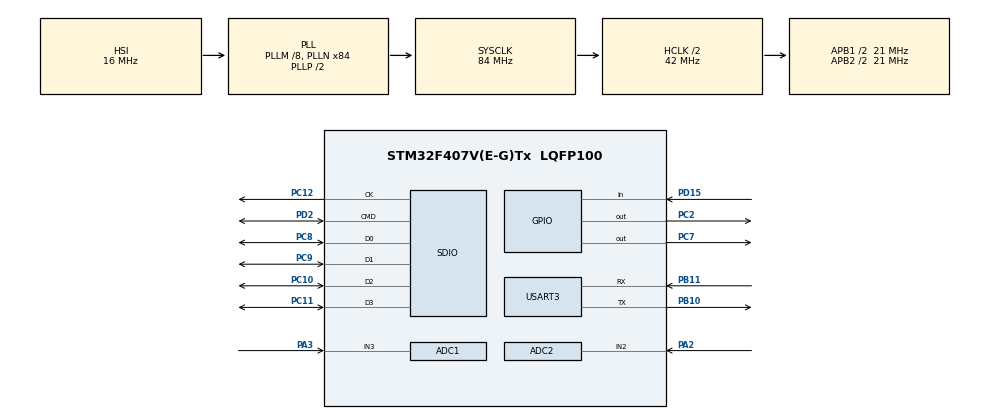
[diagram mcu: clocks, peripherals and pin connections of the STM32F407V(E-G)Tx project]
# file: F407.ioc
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ADC1.Channel-0\#ChannelRegularConversion=ADC_CHANNEL_3
ADC1.ClockPrescaler=ADC_CLOCK_SYNC_PCLK_DIV8
ADC1.ContinuousConvMode=DISABLE
ADC1.DMAContinuousRequests=DISABLE
ADC1.InjNumberOfConversion=0
ADC1.NbrOfConversionFlag=1
ADC1.Rank-0\#ChannelRegularConversion=1
ADC1.SamplingTime-0\#ChannelRegularConversion=ADC_SAMPLETIME_84CYCLES
ADC1.ScanConvMode=DISABLE
ADC1.master=1
ADC2.Channel-0\#ChannelRegularConversion=ADC_CHANNEL_2
ADC2.ClockPrescaler=ADC_CLOCK_SYNC_PCLK_DIV8
ADC2.NbrOfConversionFlag=1
ADC2.Rank-0\#ChannelRegularConversion=1
ADC2.SamplingTime-0\#ChannelRegularConversion=ADC_SAMPLETIME_3CYCLES
Dma.Request0=SDIO_RX
Dma.Request1=SDIO_TX
Dma.SDIO_RX.0.Direction=DMA_PERIPH_TO_MEMORY
Dma.SDIO_RX.0.FIFOMode=DMA_FIFOMODE_ENABLE
Dma.SDIO_RX.0.FIFOThreshold=DMA_FIFO_THRESHOLD_FULL
Dma.SDIO_RX.0.Instance=DMA2_Stream3
Dma.SDIO_RX.0.MemBurst=DMA_MBURST_INC4
Dma.SDIO_RX.0.MemDataAlignment=DMA_MDATAALIGN_WORD
Dma.SDIO_RX.0.MemInc=DMA_MINC_ENABLE
Dma.SDIO_RX.0.Mode=DMA_PFCTRL
Dma.SDIO_RX.0.PeriphBurst=DMA_PBURST_INC4
Dma.SDIO_RX.0.PeriphDataAlignment=DMA_PDATAALIGN_WORD
Dma.SDIO_RX.0.PeriphInc=DMA_PINC_DISABLE
Dma.SDIO_RX.0.Priority=DMA_PRIORITY_LOW
Dma.SDIO_TX.1.Direction=DMA_MEMORY_TO_PERIPH
Dma.SDIO_TX.1.FIFOMode=DMA_FIFOMODE_ENABLE
Dma.SDIO_TX.1.FIFOThreshold=DMA_FIFO_THRESHOLD_FULL
Dma.SDIO_TX.1.Instance=DMA2_Stream6
Dma.SDIO_TX.1.MemBurst=DMA_MBURST_INC4
Dma.SDIO_TX.1.MemDataAlignment=DMA_MDATAALIGN_WORD
Dma.SDIO_TX.1.MemInc=DMA_MINC_ENABLE
Dma.SDIO_TX.1.Mode=DMA_PFCTRL
Dma.SDIO_TX.1.PeriphBurst=DMA_PBURST_INC4
Dma.SDIO_TX.1.PeriphDataAlignment=DMA_PDATAALIGN_WORD
Dma.SDIO_TX.1.PeriphInc=DMA_PINC_DISABLE
Dma.SDIO_TX.1.Priority=DMA_PRIORITY_LOW
FATFS.BSP.number=1
FATFS._CODE_PAGE=936
FATFS._USE_LFN=2
FATFS._USE_STRFUNC=1
FATFS0.BSP.STBoard=false
FATFS0.BSP.api=Unknown
FATFS0.BSP.instance=PD15
FATFS0.BSP.ip=GPIO
FATFS0.BSP.mode=Input
FATFS0.BSP.name=Detect_SDIO
FATFS0.BSP.solution=PD15
FREERTOS.Mutexes01=printMutex,Dynamic,NULL
FREERTOS.Queues01=rxQueue,3,rxStruct,0,Dynamic,NULL,NULL;sdCmdQueue,1,uint16_t,0,Dynamic,NULL,NULL
FREERTOS.Tasks01=defaultTask,8,128,StartDefaultTask,Default,NULL,Dynamic,NULL,NULL;cmdTask,40,256,CMDTask,As external,NULL,Dynamic,NULL,NULL;sdTask,24,512,SDTask,As external,NULL,Dynamic,NULL,NULL;recordTask,8,256,RecordTask,As external,NULL,Dynamic,NULL,NULL
FREERTOS.configLIBRARY_MAX_SYSCALL_INTERRUPT_PRIORITY=5
FREERTOS.configTICK_RATE_HZ=1000
FREERTOS.configUSE_TICKLESS_IDLE=0
Mcu.Family=STM32F4
Mcu.Name=STM32F407V(E-G)Tx
Mcu.Package=LQFP100
NVIC.DMA2_Stream3_IRQn=true\:6\:0\:true\:false\:true\:true\:false\:true\:true
NVIC.DMA2_Stream6_IRQn=true\:6\:0\:true\:false\:true\:true\:false\:true\:true
NVIC.PriorityGroup=NVIC_PRIORITYGROUP_4
NVIC.SDIO_IRQn=true\:5\:0\:false\:false\:true\:true\:true\:true\:true
NVIC.TIM7_IRQn=true\:15\:0\:false\:false\:true\:false\:false\:true\:true
NVIC.TimeBase=TIM7_IRQn
NVIC.TimeBaseIP=TIM7
NVIC.USART3_IRQn=true\:5\:0\:false\:false\:true\:true\:false\:true\:true
PA13.Mode=Serial_Wire
PA13.Signal=SYS_JTMS-SWDIO
PA14.Mode=Serial_Wire
PA14.Signal=SYS_JTCK-SWCLK
PA2.Signal=ADCx_IN2
PA3.Signal=ADCx_IN3
PB10.Mode=Asynchronous
PB10.Signal=USART3_TX
PB11.Mode=Asynchronous
PB11.Signal=USART3_RX
PC10.Mode=SD_4_bits_Wide_bus
PC10.Signal=SDIO_D2
PC11.Mode=SD_4_bits_Wide_bus
PC11.Signal=SDIO_D3
PC12.Mode=SD_4_bits_Wide_bus
PC12.Signal=SDIO_CK
PC14-OSC32_IN.Mode=LSE-External-Oscillator
PC14-OSC32_IN.Signal=RCC_OSC32_IN
PC15-OSC32_OUT.Mode=LSE-External-Oscillator
PC15-OSC32_OUT.Signal=RCC_OSC32_OUT
PC2.Signal=GPIO_Output
PC7.GPIO_PuPd=GPIO_PULLUP
PC7.Signal=GPIO_Output
PC8.Mode=SD_4_bits_Wide_bus
PC8.Signal=SDIO_D0
PC9.Mode=SD_4_bits_Wide_bus
PC9.Signal=SDIO_D1
PD15.GPIO_PuPd=GPIO_PULLDOWN
PD15.Signal=GPIO_Input
PD2.Mode=SD_4_bits_Wide_bus
PD2.Signal=SDIO_CMD
PH0-OSC_IN.Mode=HSE-External-Oscillator
PH0-OSC_IN.Signal=RCC_OSC_IN
PH1-OSC_OUT.Mode=HSE-External-Oscillator
PH1-OSC_OUT.Signal=RCC_OSC_OUT
ProjectManager.HeapSize=0x4000
ProjectManager.StackSize=0x1000
ProjectManager.TargetToolchain=MDK-ARM V5
RCC.48MHZClocksFreq_Value=42000000
RCC.AHBCLKDivider=RCC_SYSCLK_DIV2
RCC.AHBFreq_Value=42000000
RCC.APB1CLKDivider=RCC_HCLK_DIV2
RCC.APB1Freq_Value=21000000
RCC.APB1TimFreq_Value=42000000
RCC.APB2CLKDivider=RCC_HCLK_DIV2
RCC.APB2Freq_Value=21000000
RCC.APB2TimFreq_Value=42000000
RCC.CortexFreq_Value=42000000
RCC.HCLKFreq_Value=42000000
RCC.HSE_VALUE=8000000
RCC.HSI_VALUE=16000000
RCC.PLLM=8
RCC.PLLN=84
RCC.RCC_RTC_Clock_SourceVirtual=RCC_RTCCLKSOURCE_LSE
RCC.SYSCLKFreq_VALUE=84000000
RCC.SYSCLKSource=RCC_SYSCLKSOURCE_PLLCLK
RCC.VCOOutputFreq_Value=168000000
SDIO.ClockDiv=3
SH.ADCx_IN2.0=ADC2_IN2,IN2
SH.ADCx_IN3.0=ADC1_IN3,IN3
USART3.VirtualMode=VM_ASYNC
VP_FATFS_VS_SDIO.Mode=SDIO
VP_FREERTOS_VS_CMSIS_V2.Mode=CMSIS_V2
VP_RTC_VS_RTC_Activate.Mode=RTC_Enabled
VP_RTC_VS_RTC_Calendar.Mode=RTC_Calendar
VP_SYS_VS_tim7.Mode=TIM7
board=custom

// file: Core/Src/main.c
/* USER CODE BEGIN Header */
/**
  ******************************************************************************
  * @file           : main.c
  * @brief          : Main program body
  ******************************************************************************
  * @attention
  *
  * Copyright (c) 2024 STMicroelectronics.
  * All rights reserved.
  *
  * This software is licensed under terms that can be found in the LICENSE file
  * in the root directory of this software component.
  * If no LICENSE file comes with this software, it is provided AS-IS.
  *
  ******************************************************************************
  */
/* USER CODE END Header */
#include "main.h"
#include "cmsis_os.h"
#include "adc.h"
#include "dma.h"
#include "fatfs.h"
#include "rtc.h"
#include "sdio.h"
#include "usart.h"
#include "gpio.h"

/* USER CODE BEGIN Includes */
#include <stdio.h>
#include <string.h>
/* USER CODE END Includes */

void SystemClock_Config(void);
void MX_FREERTOS_Init(void);

int main(void)
{

  /* MCU Configuration--------------------------------------------------------*/

  /* Reset of all peripherals, Initializes the Flash interface and the Systick. */
  HAL_Init();

  /* Configure the system clock */
  SystemClock_Config();

  /* Initialize all configured peripherals */
  MX_GPIO_Init();
  MX_DMA_Init();
  MX_USART3_UART_Init();
  MX_ADC1_Init();
  MX_RTC_Init();
  MX_SDIO_SD_Init();
  MX_FATFS_Init();
  MX_ADC2_Init();

  /* Init scheduler */
  osKernelInitialize();

  /* Call init function for freertos objects (in cmsis_os2.c) */
  MX_FREERTOS_Init();

  /* Start scheduler */
  osKernelStart();

  /* We should never get here as control is now taken by the scheduler */

  /* Infinite loop */
  while (1)
  {

  }
}

void SystemClock_Config(void)
{
  RCC_OscInitTypeDef RCC_OscInitStruct = {0};
  RCC_ClkInitTypeDef RCC_ClkInitStruct = {0};

  /** Configure the main internal regulator output voltage
  */
  __HAL_RCC_PWR_CLK_ENABLE();
  __HAL_PWR_VOLTAGESCALING_CONFIG(PWR_REGULATOR_VOLTAGE_SCALE1);

  /** Initializes the RCC Oscillators according to the specified parameters
  * in the RCC_OscInitTypeDef structure.
  */
  RCC_OscInitStruct.OscillatorType = RCC_OSCILLATORTYPE_HSI|RCC_OSCILLATORTYPE_LSE;
  RCC_OscInitStruct.LSEState = RCC_LSE_ON;
  RCC_OscInitStruct.HSIState = RCC_HSI_ON;
  RCC_OscInitStruct.HSICalibrationValue = RCC_HSICALIBRATION_DEFAULT;
  RCC_OscInitStruct.PLL.PLLState = RCC_PLL_ON;
  RCC_OscInitStruct.PLL.PLLSource = RCC_PLLSOURCE_HSI;
  RCC_OscInitStruct.PLL.PLLM = 8;
  RCC_OscInitStruct.PLL.PLLN = 84;
  RCC_OscInitStruct.PLL.PLLP = RCC_PLLP_DIV2;
  RCC_OscInitStruct.PLL.PLLQ = 4;
  if (HAL_RCC_OscConfig(&RCC_OscInitStruct) != HAL_OK)
  {
    Error_Handler();
  }

  /** Initializes the CPU, AHB and APB buses clocks
  */
  RCC_ClkInitStruct.ClockType = RCC_CLOCKTYPE_HCLK|RCC_CLOCKTYPE_SYSCLK
                              |RCC_CLOCKTYPE_PCLK1|RCC_CLOCKTYPE_PCLK2;
  RCC_ClkInitStruct.SYSCLKSource = RCC_SYSCLKSOURCE_PLLCLK;
  RCC_ClkInitStruct.AHBCLKDivider = RCC_SYSCLK_DIV2;
  RCC_ClkInitStruct.APB1CLKDivider = RCC_HCLK_DIV2;
  RCC_ClkInitStruct.APB2CLKDivider = RCC_HCLK_DIV2;

  if (HAL_RCC_ClockConfig(&RCC_ClkInitStruct, FLASH_LATENCY_1) != HAL_OK)
  {
    Error_Handler();
  }
}

void HAL_TIM_PeriodElapsedCallback(TIM_HandleTypeDef *htim)
{
  if (htim->Instance == TIM7) {
    HAL_IncTick();
  }
}

void Error_Handler(void)
{
  __disable_irq();
  while (1)
  {
  }
}

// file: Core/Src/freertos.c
/* USER CODE BEGIN Header */
/**
  ******************************************************************************
  * File Name          : freertos.c
  * Description        : Code for freertos applications
  ******************************************************************************
  * @attention
  *
  * Copyright (c) 2024 STMicroelectronics.
  * All rights reserved.
  *
  * This software is licensed under terms that can be found in the LICENSE file
  * in the root directory of this software component.
  * If no LICENSE file comes with this software, it is provided AS-IS.
  *
  ******************************************************************************
  */
/* USER CODE END Header */

#include "FreeRTOS.h"
#include "task.h"
#include "main.h"
#include "cmsis_os.h"

/* USER CODE BEGIN Includes */
#include "stdio.h"
#include "adc.h"
#include "usart.h"
#include "SDTask.h"
/* USER CODE END Includes */

/* Definitions for defaultTask */
osThreadId_t defaultTaskHandle;
const osThreadAttr_t defaultTask_attributes = {
  .name = "defaultTask",
  .stack_size = 128 * 4,
  .priority = (osPriority_t) osPriorityLow,
};
/* Definitions for cmdTask */
osThreadId_t cmdTaskHandle;
const osThreadAttr_t cmdTask_attributes = {
  .name = "cmdTask",
  .stack_size = 256 * 4,
  .priority = (osPriority_t) osPriorityHigh,
};
/* Definitions for sdTask */
osThreadId_t sdTaskHandle;
const osThreadAttr_t sdTask_attributes = {
  .name = "sdTask",
  .stack_size = 512 * 4,
  .priority = (osPriority_t) osPriorityNormal,
};
/* Definitions for recordTask */
osThreadId_t recordTaskHandle;
const osThreadAttr_t recordTask_attributes = {
  .name = "recordTask",
  .stack_size = 256 * 4,
  .priority = (osPriority_t) osPriorityLow,
};
/* Definitions for rxQueue */
osMessageQueueId_t rxQueueHandle;
const osMessageQueueAttr_t rxQueue_attributes = {
  .name = "rxQueue"
};
/* Definitions for sdCmdQueue */
osMessageQueueId_t sdCmdQueueHandle;
const osMessageQueueAttr_t sdCmdQueue_attributes = {
  .name = "sdCmdQueue"
};
/* Definitions for printMutex */
osMutexId_t printMutexHandle;
const osMutexAttr_t printMutex_attributes = {
  .name = "printMutex"
};

void StartDefaultTask(void *argument);
extern void CMDTask(void *argument);
extern void SDTask(void *argument);
// extern void RecordTask(void *argument);

void MX_FREERTOS_Init(void); /* (MISRA C 2004 rule 8.1) */

void MX_FREERTOS_Init(void) {
  /* Create the mutex(es) */
  /* creation of printMutex */
  printMutexHandle = osMutexNew(&printMutex_attributes);

  /* Create the queue(s) */
  /* creation of rxQueue */
  rxQueueHandle = osMessageQueueNew (3, sizeof(rxStruct), &rxQueue_attributes);

  /* creation of sdCmdQueue */
  sdCmdQueueHandle = osMessageQueueNew (1, sizeof(uint16_t), &sdCmdQueue_attributes);

  /* Create the thread(s) */
  /* creation of defaultTask */
  defaultTaskHandle = osThreadNew(StartDefaultTask, NULL, &defaultTask_attributes);

  /* creation of cmdTask */
  cmdTaskHandle = osThreadNew(CMDTask, NULL, &cmdTask_attributes);

  /* creation of sdTask */
  sdTaskHandle = osThreadNew(SDTask, NULL, &sdTask_attributes);

  /* creation of recordTask */
  // recordTaskHandle = osThreadNew(RecordTask, NULL, &recordTask_attributes);

}

void StartDefaultTask(void *argument)
{
  /* USER CODE BEGIN StartDefaultTask */
  uint32_t LEAK_voltage;
  /* Infinite loop */
  for(;;)
  {
    LEAK_voltage = read_leak_voltage();
    if (LEAK_voltage < 1000)
    {
      for(;;)
      {
        osMutexAcquire(printMutexHandle, osWaitForever);
        printf("LEAK!!!\r\n");
        osMutexRelease(printMutexHandle);
        osDelay(10);
      }
    }
    HAL_GPIO_TogglePin(GPIOC, GPIO_PIN_7);
    osDelay(100);
  }
  /* USER CODE END StartDefaultTask */
}
